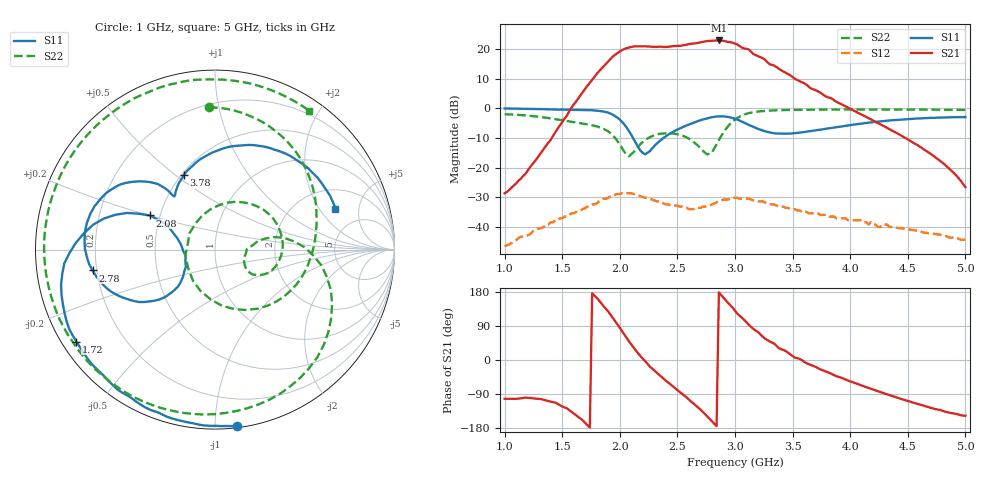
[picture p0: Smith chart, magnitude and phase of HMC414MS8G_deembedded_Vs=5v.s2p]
!Hittite Microwave Corporation
!12 Elizabeth Drive
!Chelmsford, MA 01824
!Tel: 978-250-3343
!Fax: 978-250-3373
!Device: HMC414MS8G, 2.2-2.8 GHz GaAs InGap HBT MMIC Power Amplifier in 8-lead Grounded Base surface Mount Plastic Package
!Misc: Input reference is the input pin of the device, output reference is the last component on output line, Vs=5V, Vpd=5V, Room
# MHZ S MA R 50
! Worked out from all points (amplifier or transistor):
!   201 points, 1 GHz to 5 GHz, reference 50 ohm
!   highest |S21| = 22.8 dB at 2.86 GHz (marker M1)
!   |S21| within 3 dB of that: 2.033 GHz to 3.117 GHz (1.084 GHz wide, 42.1 % of centre)
!   unconditionally stable (mu >= 1): start of sweep to 1.663 GHz; 2.025 GHz to 2.719 GHz; 3.485 GHz to end of sweep
!   at 1.66 GHz: K = 1.02, MAG = 18.5 dB, |S12| = -34.4 dB
!   at 3 GHz: K = 0.63, MSG = 26.0 dB, |S12| = -30.2 dB
!   at 5 GHz: K = 108.62, MAG = -14.5 dB, |S12| = -44.3 dB
!   S11 on the Smith chart (normalised r, x): 1 GHz: 0.01, -1.14; 1.72 GHz: 0.04, -0.30; 2.08 GHz: 0.44, +0.20; 2.78 GHz: 0.18, -0.08; 3.78 GHz: 0.51, +0.54; 5 GHz: 3.10, +2.85
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1000  0.99 -82.8  0.037 -102.4  0.004755 125.3  0.793 92.4
1680  0.931 -141.8  1.89 -159.7  0.02 62.7  0.551 2.0
1720  0.927 -146.4  2.397 -172.5  0.022 57.5  0.533 -5.2
1820  0.901 -160.2  4.211 157.0  0.027 46.5  0.481 -27.9
1920  0.81 -178.8  6.805 119.2  0.033 27.0  0.378 -62.9
2020  0.588 160.7  9.516 75.9  0.037 3.8  0.212 -125.5
2080  0.409 152.3  10.53 49.0  0.037 -9.3  0.155 168.1
2200  0.177 -177.6  11.03 3.5  0.032 -31.0  0.271 75.0
2340  0.274 -135.8  10.92 -38.5  0.027 -47.5  0.368 27.7
2480  0.418 -138.2  11.2 -74.4  0.023 -57.1  0.371 -4.6
2600  0.532 -147.3  12 -104.4  0.02 -57.4  0.307 -26.5
2700  0.627 -158.3  12.89 -130.9  0.021 -57.4  0.212 -32.8
2780  0.692 -170.3  13.61 -155.5  0.023 -59.5  0.173 -7.8
2860  0.729 175.8  13.85 178.5  0.027 -65.3  0.291 12.4
3000  0.664 149.3  12.26 130.2  0.031 -86.9  0.644 -14.1
3120  0.523 134.0  9.756 92.9  0.03 -106.0  0.828 -46.5
3260  0.41 128.3  6.566 56.7  0.026 -121.4  0.902 -78.4
3500  0.377 126.2  3.359 10.7  0.02 -141.3  0.939 -122.0
3680  0.419 119.0  2.082 -15.7  0.017 -151.5  0.947 -149.9
3780  0.45 112.7  1.613 -29.2  0.016 -157.0  0.949 -164.0
4340  0.622 69.3  0.444 -92.4  0.01 175.9  0.955 126.8
5000  0.709 18.8  0.047 -147.3  0.006115 149.9  0.935 55.8
